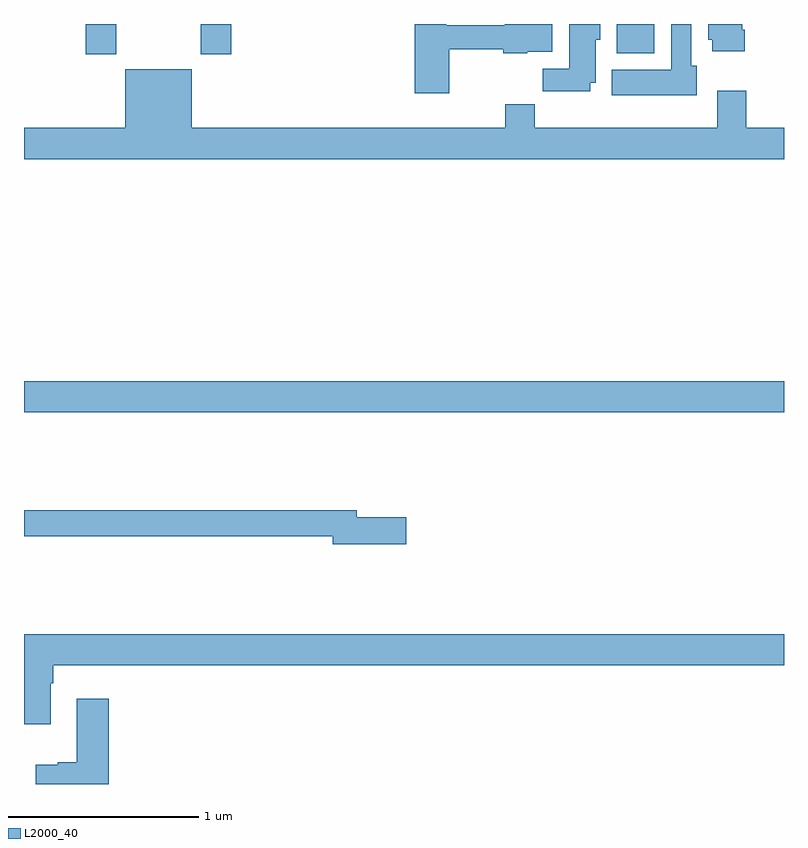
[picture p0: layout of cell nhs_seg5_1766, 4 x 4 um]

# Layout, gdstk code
import gdstk
lib = gdstk.Library(unit=1e-6, precision=1e-09)
def R(c, l, rs):  # rectangles x0, y0, x1, y1
    for r in rs: c.add(gdstk.rectangle(r[:2], r[2:], *l))
def P(c, l, *ps):  # polygons
    for p in ps: c.add(gdstk.Polygon(p, *l))
L2000_40 = (2000, 40)

nhs_seg5_1766 = lib.new_cell('nhs_seg5_1766')
R(nhs_seg5_1766, L2000_40, [(217,860.756,221,860.92), (217.325,862.641,217.485,862.799), (217.93,862.641,218.09,862.799), (220.121,862.646,220.318,862.799)])
P(nhs_seg5_1766, L2000_40, [(219.239,862.665),(219.523,862.665),(219.523,862.646),(219.648,862.646),(219.648,862.652),(219.781,862.652),(219.781,862.799),(219.53,862.799),(219.53,862.793),(219.222,862.793),(219.222,862.799),(219.056,862.799),(219.056,862.434),(219.239,862.434)],
  [(219.979,862.49),(220.009,862.49),(220.009,862.716),(220.033,862.716),(220.033,862.799),(219.869,862.799),(219.869,862.564),(219.73,862.564),(219.73,862.446),(219.979,862.446)],
  [(220.793,862.768),(220.78,862.768),(220.78,862.799),(220.601,862.799),(220.601,862.716),(220.622,862.716),(220.622,862.656),(220.793,862.656)],
  [(220.54,862.578),(220.513,862.578),(220.513,862.799),(220.406,862.799),(220.406,862.558),(220.094,862.558),(220.094,862.424),(220.54,862.424)],
  [(221,862.252),(220.802,862.252),(220.802,862.447),(220.649,862.447),(220.649,862.252),(219.689,862.252),(219.689,862.376),(219.533,862.376),(219.533,862.252),(217.882,862.252),(217.882,862.561),(217.532,862.561),(217.532,862.252),(217,862.252),(217,862.088),(221,862.088)],
  [(219.013,860.204),(218.752,860.204),(218.752,860.24),(217,860.24),(217,860.104),(218.624,860.104),(218.624,860.062),(219.013,860.062)],
  [(217,859.225),(217.001,859.225),(217.001,859.113),(217.141,859.113),(217.141,859.328),(217.154,859.328),(217.154,859.424),(221,859.424),(221,859.588),(217,859.588)],
  [(217.445,859.249),(217.277,859.249),(217.277,858.914),(217.178,858.914),(217.178,858.901),(217.062,858.901),(217.062,858.799),(217.445,858.799)])

lib.write_gds('nhs_seg5_1766.gds')
